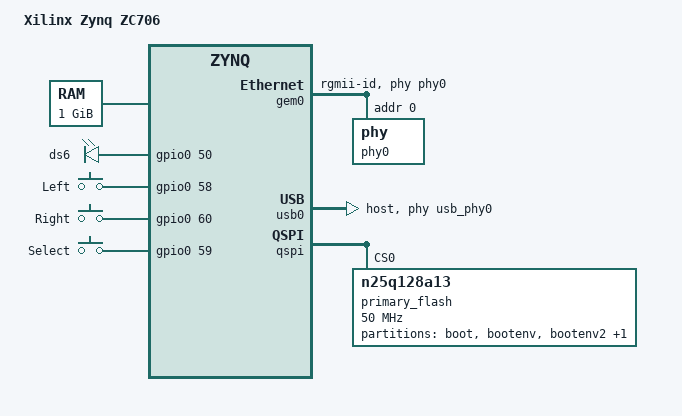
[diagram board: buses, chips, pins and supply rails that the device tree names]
/include/ "zynq.dtsi"

/ {
	model = "Xilinx Zynq ZC706";
	/include/ "dt_ver.dtsi"
	memory {
		device_type = "memory";
		reg = <0x00000000 0x40000000>;
	};

	chosen {
		bootargs = "console=ttyPS0,115200 root=/dev/mmcblk0p2 rw earlyprintk rootfstype=ext4 rootwait";
		linux,stdout-path = "/amba@0/uart@E0001000";
	};

	usb_phy0: phy0 {
		compatible = "ulpi-phy";
		#phy-cells = <0>;
		reg = <0xe0002000 0x1000>;
		view-port = <0x0170>;
		drv-vbus;
	};

	leds {
		compatible = "gpio-leds";
		ds6 {
			label = "ds6";
			gpios = <&gpio0 50 0>;
			linux,default-trigger = "heartbeat";
		};

	};

	gpio_keys {
		compatible = "gpio-keys";
		#address-cells = <1>;
		#size-cells = <0>;
		autorepeat;

		sw7 {
			label = "Left";
			linux,code = <105>; // Left
			gpios = <&gpio0 58 0>;
		};

		sw8 {
			label = "Right";
			linux,code = <106>; // Right
			gpios = <&gpio0 60 0>;
		};

		sw9 {
			label = "Select";
			linux,code = <28>; // Enter
			gpios = <&gpio0 59 0>;
		};
	};
};

&gem0 {
	phy-handle = <&phy0>;
	phy-mode = "rgmii-id";

	phy0: phy@0 {
		device_type = "ethernet-phy";
		reg = <0x0>;
		marvell,reg-init=<3 16 0xff00 0x1e 
		                  3 17 0xfff0 0x0a>;
	};
};


&usb0 {
	xlnx,phy-reset-gpio = <&gpio0 7 0>;
	status = "okay";
	//dr_mode = "peripheral";
	dr_mode = "host";
	usb-phy = <&usb_phy0>;
};

&qspi {
	status = "okay";
	is-dual = <0>;
	num-cs = <1>;
	primary_flash: ps7-qspi@0 {
		#address-cells = <1>;
		#size-cells = <1>;
		spi-tx-bus-width = <1>;
		spi-rx-bus-width = <4>;
		compatible = "n25q128a13";
		reg = <0x0>;
		spi-max-frequency = <50000000>;
		partition@0 {
			label = "boot";
			reg = <0x00000000 0x00400000>;
		};
		partition@400000 {
			label = "bootenv";
			reg = <0x00400000 0x00100000>;
		};
		partition@500000 {
			label = "bootenv2";
			reg = <0x00500000 0x00100000>;
		};
		partition@600000 {
			label = "config";
			reg = <0x00600000 0x00100000>;
		};
	};
};
